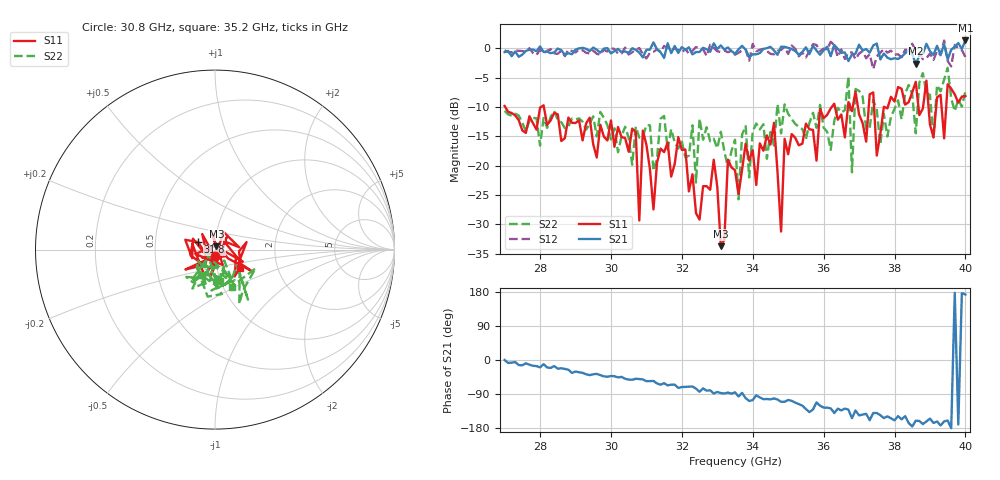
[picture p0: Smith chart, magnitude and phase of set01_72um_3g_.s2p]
! Quiescent point : V1=-1.74500E-02 I1=+1.36418E-03 V2=-2.32381E-02 I2=-1.34973E-03
! Pulsed point : V1=-1.71217E-02 I1=+1.34942E-03 V2=-2.35396E-02 I2=-1.34862E-03
! Period : +2.00000E-04
! Input Supply timing : delay=+1.60000E-06 width=+2.20000E-06
! Output Supply timing : delay=+1.70000E-06 width=+2.00000E-06
! VNA timing : delay=+2.40000E-06 width=+1.10000E-06
# Hz S RI R 50
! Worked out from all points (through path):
!   131 points, 27 GHz to 40 GHz, reference 50 ohm
!   highest |S21| = 1.32 dB at 40 GHz (marker M1); lowest = -2.7 dB at 38.6 GHz (marker M2)
!   group delay of S21, straight-line fit = 38 ps
!   lowest |S11| = -33.7 dB at 33.1 GHz (marker M3), VSWR 1.04, Z = 50.8 + j1.92 ohm
!   |S11| at or under -10 dB: 27.02 GHz to 28.03 GHz (1.016 GHz wide, 3.69 % of centre); 28.11 GHz to 36.23 GHz (8.124 GHz wide, 25.3 % of centre); 36.32 GHz to 36.69 GHz (366.6 MHz wide, 1 % of centre)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
!   |S22| runs from -25.8 to -3.3 dB; largest |S21 - S12| = 0.43
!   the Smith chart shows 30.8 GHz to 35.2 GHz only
!   S11 on the Smith chart (normalised r, x): 30.8 GHz: 1.00, -0.07; 31.8 GHz: 0.82, +0.07; 35.2 GHz: 1.29, -0.27
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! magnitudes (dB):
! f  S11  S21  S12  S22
! 27 GHz  -9.9  -0.7  -0.3  -10.7
! 29.2 GHz  -15.7  0.1  -0.4  -12.5
! 30.7 GHz  -14.3  -0.3  -0.2  -13.4
! 30.8 GHz  -29.4  -0.8  0.0  -15.3
! 30.9 GHz  -14.0  -1.6  -1.0  -15.1
! 31.2 GHz  -27.5  1.0  -0.6  -20.9
! 31.4 GHz  -17.1  -0.7  -0.6  -12.0
! 31.8 GHz  -19.7  0.4  0.0  -16.1
! 32.5 GHz  -29.2  -0.6  0.0  -12.0
! 32.9 GHz  -19.0  0.8  0.1  -15.4
! 33.1 GHz  -33.7  0.5  -0.7  -14.3
! 33.5 GHz  -20.8  -0.9  -1.1  -15.6
! 33.6 GHz  -24.9  -0.2  -0.8  -25.8
! 33.8 GHz  -16.3  -0.2  -0.2  -13.3
! 34.6 GHz  -12.7  -0.4  -1.1  -16.6
! 34.8 GHz  -31.2  0.3  -0.3  -14.5
! 34.9 GHz  -15.4  0.2  0.2  -9.6
! 35.2 GHz  -15.3  -0.5  -0.1  -12.9
! 35.7 GHz  -13.9  0.4  0.7  -11.0
! 37.9 GHz  -8.3  -1.9  -0.4  -11.7
! 38.6 GHz  -5.7  -2.7  -0.4  -14.5
! 40 GHz  -8.2  1.3  -1.5  -7.4
